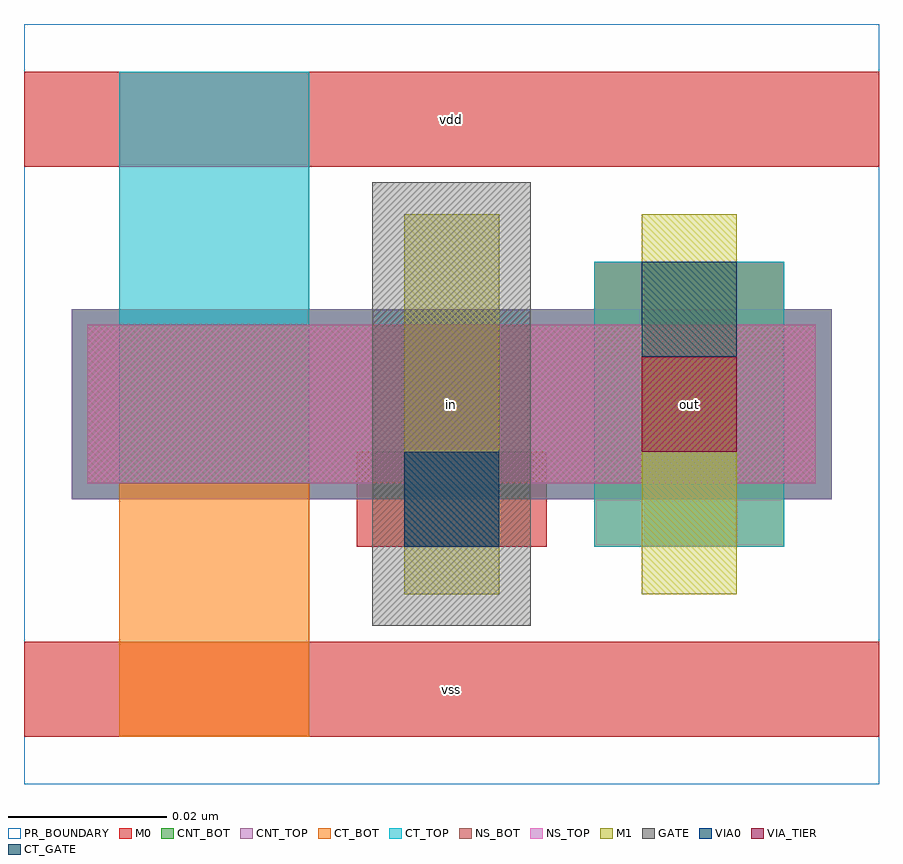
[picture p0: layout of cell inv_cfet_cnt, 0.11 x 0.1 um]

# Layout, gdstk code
import gdstk
lib = gdstk.Library(unit=1e-6, precision=1e-09)
def R(c, l, rs):  # rectangles x0, y0, x1, y1
    for r in rs: c.add(gdstk.rectangle(r[:2], r[2:], *l))
PR_BOUNDARY = (1, 0)
NS_BOT = (10, 0)
NS_TOP = (11, 0)
GATE = (20, 0)
CT_GATE = (21, 0)
CT_BOT = (30, 0)
CT_TOP = (31, 0)
VIA_TIER = (35, 0)
M0 = (40, 0)
VIA0 = (41, 0)
M1 = (42, 0)
CNT_BOT = (53, 0)
CNT_TOP = (54, 0)

inv_cfet_cnt = lib.new_cell('inv_cfet_cnt')
R(inv_cfet_cnt, PR_BOUNDARY, [(0,0,0.108,0.096)])
R(inv_cfet_cnt, NS_BOT, [(0.008,0.038,0.1,0.058)])
R(inv_cfet_cnt, NS_TOP, [(0.008,0.038,0.1,0.058)])
R(inv_cfet_cnt, GATE, [(0.044,0.02,0.064,0.076)])
R(inv_cfet_cnt, CT_GATE, [(0.048,0.03,0.06,0.042)])
R(inv_cfet_cnt, CT_BOT, [(0.012,0.006,0.036,0.058), (0.072,0.03,0.096,0.066)])
R(inv_cfet_cnt, CT_TOP, [(0.072,0.03,0.096,0.066), (0.012,0.038,0.036,0.09)])
R(inv_cfet_cnt, VIA_TIER, [(0.078,0.042,0.09,0.054)])
R(inv_cfet_cnt, M0, [(0,0.006,0.108,0.018), (0.042,0.03,0.066,0.042), (0.072,0.054,0.096,0.066), (0,0.078,0.108,0.09)])
R(inv_cfet_cnt, VIA0, [(0.048,0.03,0.06,0.042), (0.078,0.054,0.09,0.066)])
R(inv_cfet_cnt, M1, [(0.048,0.024,0.06,0.072), (0.078,0.024,0.09,0.072)])
R(inv_cfet_cnt, CNT_BOT, [(0.006,0.036,0.102,0.06)])
R(inv_cfet_cnt, CNT_TOP, [(0.006,0.036,0.102,0.06)])
inv_cfet_cnt.add(gdstk.Label('in', (0.054,0.048), layer=42, texttype=1))
inv_cfet_cnt.add(gdstk.Label('out', (0.084,0.048), layer=42, texttype=1))
inv_cfet_cnt.add(gdstk.Label('vdd', (0.054,0.084), layer=40, texttype=1))
inv_cfet_cnt.add(gdstk.Label('vss', (0.054,0.012), layer=40, texttype=1))

lib.write_gds('inv_cfet_cnt.gds')
